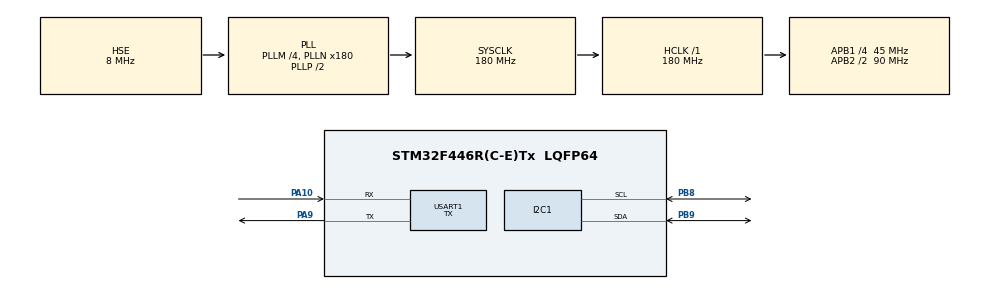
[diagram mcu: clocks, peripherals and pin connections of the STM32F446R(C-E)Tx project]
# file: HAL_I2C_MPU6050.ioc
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Dma.Request0=USART1_TX
Dma.USART1_TX.0.Direction=DMA_MEMORY_TO_PERIPH
Dma.USART1_TX.0.FIFOMode=DMA_FIFOMODE_DISABLE
Dma.USART1_TX.0.Instance=DMA2_Stream7
Dma.USART1_TX.0.MemDataAlignment=DMA_MDATAALIGN_BYTE
Dma.USART1_TX.0.MemInc=DMA_MINC_ENABLE
Dma.USART1_TX.0.Mode=DMA_CIRCULAR
Dma.USART1_TX.0.PeriphDataAlignment=DMA_PDATAALIGN_BYTE
Dma.USART1_TX.0.PeriphInc=DMA_PINC_DISABLE
Dma.USART1_TX.0.Priority=DMA_PRIORITY_LOW
I2C1.I2C_Mode=I2C_Standard
Mcu.Family=STM32F4
Mcu.Name=STM32F446R(C-E)Tx
Mcu.Package=LQFP64
NVIC.DMA2_Stream7_IRQn=true\:0\:0\:false\:false\:true\:false\:true
NVIC.PriorityGroup=NVIC_PRIORITYGROUP_4
PA10.Mode=Asynchronous
PA10.Signal=USART1_RX
PA9.Mode=Asynchronous
PA9.Signal=USART1_TX
PB8.Mode=I2C
PB8.Signal=I2C1_SCL
PB9.Mode=I2C
PB9.Signal=I2C1_SDA
PH0-OSC_IN.Mode=HSE-External-Oscillator
PH0-OSC_IN.Signal=RCC_OSC_IN
PH1-OSC_OUT.Mode=HSE-External-Oscillator
PH1-OSC_OUT.Signal=RCC_OSC_OUT
ProjectManager.HeapSize=0x200
ProjectManager.StackSize=0x400
ProjectManager.TargetToolchain=STM32CubeIDE
RCC.AHBFreq_Value=180000000
RCC.APB1CLKDivider=RCC_HCLK_DIV4
RCC.APB1Freq_Value=45000000
RCC.APB1TimFreq_Value=90000000
RCC.APB2CLKDivider=RCC_HCLK_DIV2
RCC.APB2Freq_Value=90000000
RCC.APB2TimFreq_Value=180000000
RCC.CortexFreq_Value=180000000
RCC.HCLKFreq_Value=180000000
RCC.HSE_VALUE=8000000
RCC.PLLM=4
RCC.PLLN=180
RCC.PLLSourceVirtual=RCC_PLLSOURCE_HSE
RCC.SYSCLKFreq_VALUE=180000000
RCC.SYSCLKSource=RCC_SYSCLKSOURCE_PLLCLK
RCC.USBFreq_Value=180000000
RCC.VCOOutputFreq_Value=360000000
USART1.Mode=MODE_TX
USART1.VirtualMode=VM_ASYNC
board=custom

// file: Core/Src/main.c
/* USER CODE BEGIN Header */
/**
  ******************************************************************************
  * @file           : main.c
  * @brief          : Main program body
  ******************************************************************************
  * @attention
  *
  * <h2><center>&copy; Copyright (c) 2020 STMicroelectronics.
  * All rights reserved.</center></h2>
  *
  * This software component is licensed by ST under BSD 3-Clause license,
  * the "License"; You may not use this file except in compliance with the
  * License. You may obtain a copy of the License at:
  *                        opensource.org/licenses/BSD-3-Clause
  *
  ******************************************************************************
  */
/* USER CODE END Header */
#include "main.h"

/* USER CODE BEGIN PD */
#define	MPU6050_Addr		0xD0
#define	SMPLRT_DIV_REG		0x19
#define	GYRO_CONFIG_REG		0x1B
#define	ACCEL_CONFIG_REG	0x1B
#define	ACCEL_XOUT_H_REG	0x3B
#define	TEMP_XOUT_H_REG		0x41
#define	GYRO_XOUT_H_REG		0x43
#define	PWR_MGMT_1_REG		0x6B
#define	WHO_AM_I_REG		0x75

#define Accelorometer_Sense	16384.0
#define Gyroscope_Sense		131.0

typedef enum{
	Accelorometer=0,
	Gyroscope=1
}Data_type;
/* USER CODE END PD */

I2C_HandleTypeDef hi2c1;

UART_HandleTypeDef huart1;
DMA_HandleTypeDef hdma_usart1_tx;

/* USER CODE BEGIN PV */

int16_t ACCEL_X=0 ,ACCEL_Y=0,ACCEL_Z=0,GYRO_X=0,GYRO_Y=0,GYRO_Z=0;
float Ax=0 ,Ay=0,Az=0,Gx=0,Gy=0,Gz=0;

/* USER CODE END PV */

void SystemClock_Config(void);
static void MX_GPIO_Init(void);
static void MX_DMA_Init(void);
static void MX_I2C1_Init(void);
static void MX_USART1_UART_Init(void);
/* USER CODE BEGIN PFP */
void MPU6050_Init(void){
	uint8_t check=0 ,data=0;

	// check device ID WHO AM I
control:
	HAL_I2C_Mem_Read(&hi2c1,MPU6050_Addr, WHO_AM_I_REG	, 1, &check, 1, 1000);

	if(check==0x68){	//  if the device present
	data=0;				//	We should set '0' power management register to wake the sensor up
	HAL_I2C_Mem_Write(&hi2c1, MPU6050_Addr, PWR_MGMT_1_REG, 1, &data, 1, 1000);

	data=0x7;			//	Set data rate of 1Khz by writing SMPLRT_DIV register
	HAL_I2C_Mem_Write(&hi2c1, MPU6050_Addr, SMPLRT_DIV_REG, 1, &data, 1, 1000);

	data=0x0;			//	Set acceloremeter configuration in ACCEL_CONFIG Register FS_SEL=0 -> ± 2g
	HAL_I2C_Mem_Write(&hi2c1, MPU6050_Addr, ACCEL_CONFIG_REG, 1, &data, 1, 1000);

	data=0x0;		//	Set gyroscpope configuration in GYRO_CONFIG Register FS_SEL=0 -> ± 250 °/s
	HAL_I2C_Mem_Write(&hi2c1, MPU6050_Addr, GYRO_CONFIG_REG, 1, &data, 1, 1000);
	}
	else
		goto control;
}

void MPU6050_Read_Raw(Data_type X){
	uint8_t Data[6];
	if (X == Accelorometer) {
		HAL_I2C_Mem_Read(&hi2c1, MPU6050_Addr, ACCEL_XOUT_H_REG, 1, Data, 6,1000);
		 ACCEL_X = (int16_t) (Data[0] << 8 | Data[1]);
		 ACCEL_Y = (int16_t) (Data[2] << 8 | Data[3]);
		 ACCEL_Z = (int16_t) (Data[4] << 8 | Data[5]);

		 Ax=ACCEL_X/Accelorometer_Sense;
		 Ay=ACCEL_Y/Accelorometer_Sense;
		 Az=ACCEL_Z/Accelorometer_Sense;

	}
	else if(X==Gyroscope){
		HAL_I2C_Mem_Read(&hi2c1, MPU6050_Addr, GYRO_XOUT_H_REG, 1, Data, 6,1000);

		 GYRO_X = (int16_t) (Data[0] << 8 | Data[1]);
		 GYRO_Y = (int16_t) (Data[2] << 8 | Data[3]);
		 GYRO_Z = (int16_t) (Data[4] << 8 | Data[5]);

		 Gx=GYRO_X/Gyroscope_Sense;
		 Gy=GYRO_Y/Gyroscope_Sense;
		 Gz=GYRO_Z/Gyroscope_Sense;
	}

}
/* USER CODE END PFP */

int main(void)
{

  /* MCU Configuration--------------------------------------------------------*/

  /* Reset of all peripherals, Initializes the Flash interface and the Systick. */
  HAL_Init();

  /* Configure the system clock */
  SystemClock_Config();

  /* Initialize all configured peripherals */
  MX_GPIO_Init();
  MX_DMA_Init();
  MX_I2C1_Init();
  MX_USART1_UART_Init();
  /* USER CODE BEGIN 2 */
  MPU6050_Init();

  /* USER CODE END 2 */

  /* Infinite loop */
  /* USER CODE BEGIN WHILE */
  while (1)
  {
	  MPU6050_Read_Raw(Accelorometer);
	  MPU6050_Read_Raw(Gyroscope);
	  HAL_Delay(100);
    /* USER CODE END WHILE */

  }
}

void SystemClock_Config(void)
{
  RCC_OscInitTypeDef RCC_OscInitStruct = {0};
  RCC_ClkInitTypeDef RCC_ClkInitStruct = {0};

  /** Configure the main internal regulator output voltage
  */
  __HAL_RCC_PWR_CLK_ENABLE();
  __HAL_PWR_VOLTAGESCALING_CONFIG(PWR_REGULATOR_VOLTAGE_SCALE1);
  /** Initializes the RCC Oscillators according to the specified parameters
  * in the RCC_OscInitTypeDef structure.
  */
  RCC_OscInitStruct.OscillatorType = RCC_OSCILLATORTYPE_HSE;
  RCC_OscInitStruct.HSEState = RCC_HSE_ON;
  RCC_OscInitStruct.PLL.PLLState = RCC_PLL_ON;
  RCC_OscInitStruct.PLL.PLLSource = RCC_PLLSOURCE_HSE;
  RCC_OscInitStruct.PLL.PLLM = 4;
  RCC_OscInitStruct.PLL.PLLN = 180;
  RCC_OscInitStruct.PLL.PLLP = RCC_PLLP_DIV2;
  RCC_OscInitStruct.PLL.PLLQ = 2;
  RCC_OscInitStruct.PLL.PLLR = 2;
  if (HAL_RCC_OscConfig(&RCC_OscInitStruct) != HAL_OK)
  {
    Error_Handler();
  }
  /** Activate the Over-Drive mode
  */
  if (HAL_PWREx_EnableOverDrive() != HAL_OK)
  {
    Error_Handler();
  }
  /** Initializes the CPU, AHB and APB buses clocks
  */
  RCC_ClkInitStruct.ClockType = RCC_CLOCKTYPE_HCLK|RCC_CLOCKTYPE_SYSCLK
                              |RCC_CLOCKTYPE_PCLK1|RCC_CLOCKTYPE_PCLK2;
  RCC_ClkInitStruct.SYSCLKSource = RCC_SYSCLKSOURCE_PLLCLK;
  RCC_ClkInitStruct.AHBCLKDivider = RCC_SYSCLK_DIV1;
  RCC_ClkInitStruct.APB1CLKDivider = RCC_HCLK_DIV4;
  RCC_ClkInitStruct.APB2CLKDivider = RCC_HCLK_DIV2;

  if (HAL_RCC_ClockConfig(&RCC_ClkInitStruct, FLASH_LATENCY_5) != HAL_OK)
  {
    Error_Handler();
  }
}

static void MX_I2C1_Init(void)
{

  hi2c1.Instance = I2C1;
  hi2c1.Init.ClockSpeed = 100000;
  hi2c1.Init.DutyCycle = I2C_DUTYCYCLE_2;
  hi2c1.Init.OwnAddress1 = 0;
  hi2c1.Init.AddressingMode = I2C_ADDRESSINGMODE_7BIT;
  hi2c1.Init.DualAddressMode = I2C_DUALADDRESS_DISABLE;
  hi2c1.Init.OwnAddress2 = 0;
  hi2c1.Init.GeneralCallMode = I2C_GENERALCALL_DISABLE;
  hi2c1.Init.NoStretchMode = I2C_NOSTRETCH_DISABLE;
  if (HAL_I2C_Init(&hi2c1) != HAL_OK)
  {
    Error_Handler();
  }

}

static void MX_USART1_UART_Init(void)
{

  huart1.Instance = USART1;
  huart1.Init.BaudRate = 115200;
  huart1.Init.WordLength = UART_WORDLENGTH_8B;
  huart1.Init.StopBits = UART_STOPBITS_1;
  huart1.Init.Parity = UART_PARITY_NONE;
  huart1.Init.Mode = UART_MODE_TX;
  huart1.Init.HwFlowCtl = UART_HWCONTROL_NONE;
  huart1.Init.OverSampling = UART_OVERSAMPLING_16;
  if (HAL_UART_Init(&huart1) != HAL_OK)
  {
    Error_Handler();
  }

}

static void MX_DMA_Init(void)
{

  /* DMA controller clock enable */
  __HAL_RCC_DMA2_CLK_ENABLE();

  /* DMA interrupt init */
  /* DMA2_Stream7_IRQn interrupt configuration */
  HAL_NVIC_SetPriority(DMA2_Stream7_IRQn, 0, 0);
  HAL_NVIC_EnableIRQ(DMA2_Stream7_IRQn);

}

static void MX_GPIO_Init(void)
{

  /* GPIO Ports Clock Enable */
  __HAL_RCC_GPIOH_CLK_ENABLE();
  __HAL_RCC_GPIOA_CLK_ENABLE();
  __HAL_RCC_GPIOB_CLK_ENABLE();

}

void Error_Handler(void)
{
}

/************************ (C) COPYRIGHT STMicroelectronics *****END OF FILE****/
